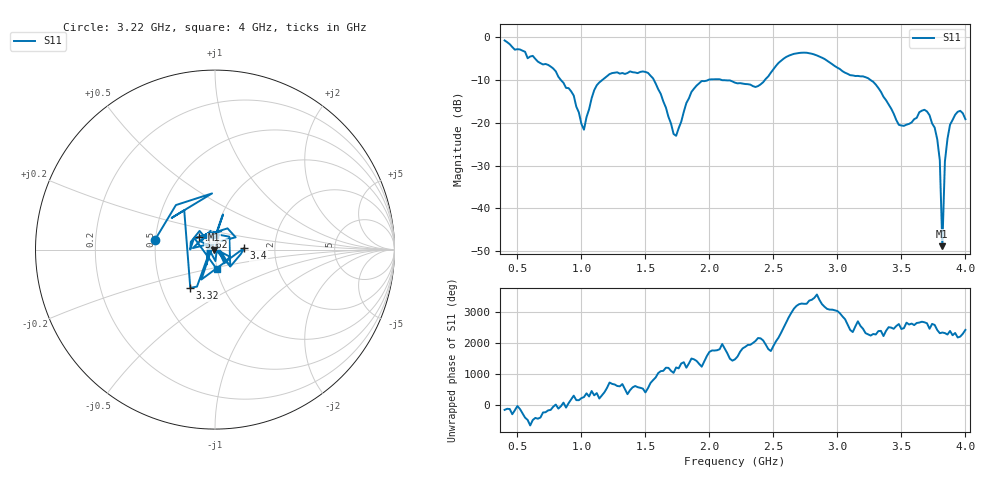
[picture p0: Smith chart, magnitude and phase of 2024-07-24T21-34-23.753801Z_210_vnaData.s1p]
!Created with skrf (http://scikit-rf.org).
# Hz S RI R 50.0
!freq ReS11 ImS11
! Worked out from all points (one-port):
!   181 points, 400 MHz to 4 GHz, reference 50 ohm
!   lowest |S11| = -48.8 dB at 3.82 GHz (marker M1), VSWR 1.01, Z = 49.6 - j0.0663 ohm
!   |S11| at or under -10 dB: 838.3 MHz to 1.165 GHz (326.9 MHz wide, 32.6 % of centre); 1.566 GHz to 1.994 GHz (428 MHz wide, 24 % of centre); 3.257 GHz to end of sweep (the widest 3 of 4)
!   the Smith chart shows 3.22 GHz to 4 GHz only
!   S11 on the Smith chart (normalised r, x): 3.22 GHz: 0.50, +0.06; 3.32 GHz: 0.70, -0.32; 3.4 GHz: 1.39, +0.03; 3.62 GHz: 0.83, +0.12; 4 GHz: 1.00, -0.22
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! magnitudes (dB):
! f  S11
! 400 MHz  -0.8
! 860 MHz  -10.7
! 940 MHz  -13.7
! 1.02 GHz  -21.6
! 1.12 GHz  -11.3
! 1.3 GHz  -8.6
! 1.52 GHz  -8.4
! 1.72 GHz  -22.6
! 1.76 GHz  -21.3
! 1.94 GHz  -10.3
! 2.2 GHz  -10.7
! 2.38 GHz  -11.5
! 2.66 GHz  -3.9
! 3.1 GHz  -8.9
! 3.22 GHz  -9.4
! 3.32 GHz  -11.9
! 3.4 GHz  -15.7
! 3.48 GHz  -20.5
! 3.56 GHz  -20.3
! 3.62 GHz  -18.9
! 3.7 GHz  -17.4
! 3.78 GHz  -23.9
! 3.8 GHz  -28.7
! 3.82 GHz  -48.8
! 3.84 GHz  -29.0
! 3.88 GHz  -20.5
! 3.96 GHz  -17.2
! 4 GHz  -19.2
